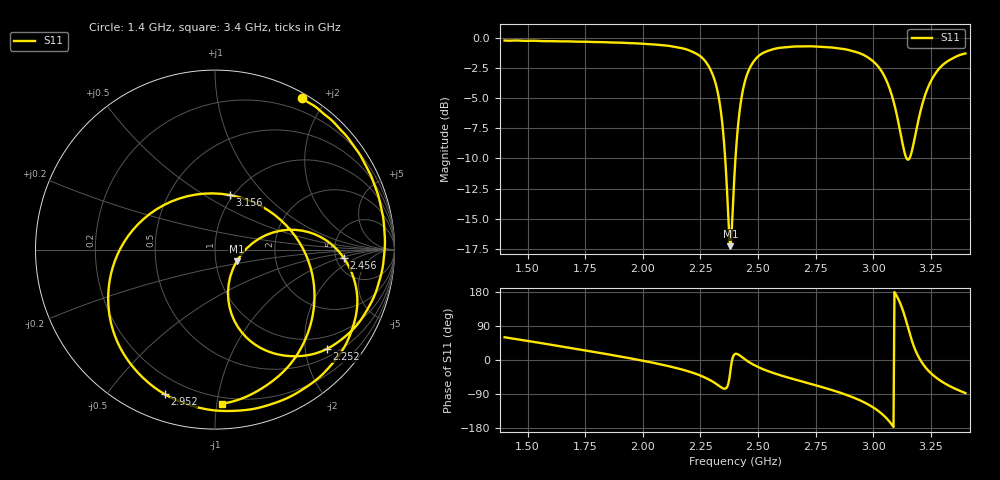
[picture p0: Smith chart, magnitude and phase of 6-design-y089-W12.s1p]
#  Hz  S  RI  R  50
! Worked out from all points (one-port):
!   501 points, 1.4 GHz to 3.4 GHz, reference 50 ohm
!   lowest |S11| = -17.3 dB at 2.38 GHz (marker M1), VSWR 1.32, Z = 63 - j8.5 ohm
!   |S11| at or under -10 dB: 2.357 GHz to 2.402 GHz (44.72 MHz wide, 1.88 % of centre); 3.145179 GHz to 3.156798 GHz (11.62 MHz wide, 0.369 % of centre)
!   S11 on the Smith chart (normalised r, x): 1.4 GHz: 0.06, +1.73; 2.252 GHz: 0.68, -2.47; 2.456 GHz: 5.89, -1.12; 2.952 GHz: 0.12, -0.70; 3.156 GHz: 0.97, +0.65; 3.4 GHz: 0.16, -1.04
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1.4e9  0.4868 0.8419
1.652e9  0.7877 0.5574
1.9e9  0.9399 0.1564
2.036e9  0.9336 -0.1024
2.152e9  0.8429 -0.3439
2.252e9  0.6236 -0.5533
2.3e9  0.4004 -0.592
2.332e9  0.1978 -0.5102
2.36e9  0.0742 -0.2791
2.38e9  0.1202 -0.0662
2.4e9  0.2837 0.0807
2.424e9  0.5209 0.0975
2.456e9  0.7173 -0.0461
2.52e9  0.7882 -0.3493
2.652e9  0.589 -0.7042
2.792e9  0.2518 -0.8794
2.9e9  -0.089 -0.8807
2.952e9  -0.2801 -0.8059
3.016e9  -0.5126 -0.5746
3.072e9  -0.5869 -0.1727
3.108e9  -0.429 0.1411
3.132e9  -0.1982 0.2848
3.152e9  0.0363 0.3105
3.156e9  0.0831 0.304
3.196e9  0.4494 0.0715
3.236e9  0.5543 -0.2701
3.308e9  0.3798 -0.6813
3.4e9  0.0402 -0.8587
